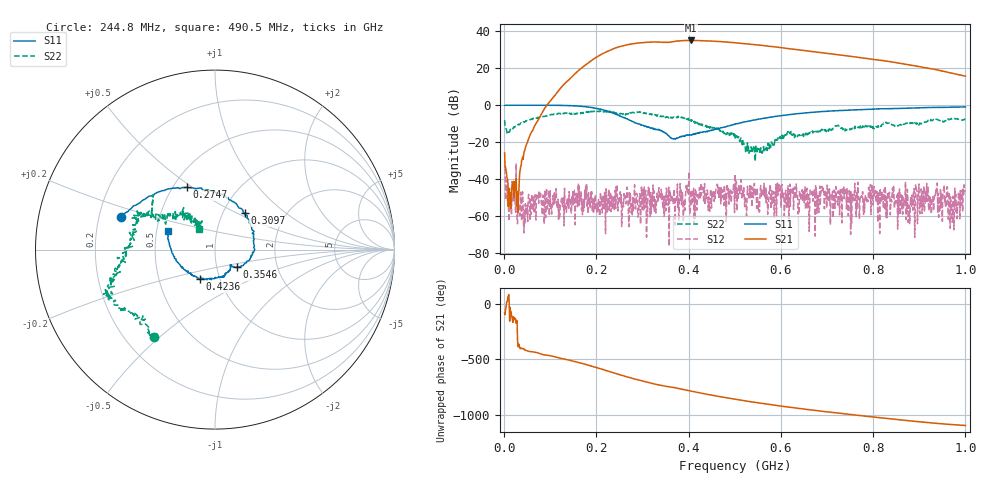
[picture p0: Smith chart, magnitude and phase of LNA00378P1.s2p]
! Created with skrf 1.9.0 (http://scikit-rf.org).
# Hz S RI R 50.0
!freq ReS11 ImS11 ReS21 ImS21 ReS12 ImS12 ReS22 ImS22
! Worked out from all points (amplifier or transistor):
!   1001 points, 1 MHz to 1 GHz, reference 50 ohm
!   highest |S21| = 35.0 dB at 404.6 MHz (marker M1)
!   |S21| within 3 dB of that: 255.9 MHz to 569.3 MHz (313.4 MHz wide, 76 % of centre) (the widest 1 of 2)
!   unconditionally stable (mu >= 1): 297.9 MHz to 400.2 MHz; 400.9 MHz to 500.5 MHz; 500.5 MHz to end of sweep (the widest 3 of 33)
!   at 166.8 MHz: K = 1.11, MAG = 31.2 dB, |S12| = -46.5 dB
!   at 500.5 MHz: K = 0.98, MSG = 35.5 dB, |S12| = -37.3 dB
!   at 1 GHz: K = 2.63, MAG = 24.2 dB, |S12| = -46.8 dB
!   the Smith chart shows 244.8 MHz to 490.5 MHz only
!   S11 on the Smith chart (normalised r, x): 244.8 MHz: 0.29, +0.15; 274.7 MHz: 0.59, +0.48; 309.7 MHz: 1.26, +0.55; 354.6 MHz: 1.25, -0.25; 423.6 MHz: 0.81, -0.27; 490.5 MHz: 0.57, +0.13
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1000000  0.9823 0.0135  0.00718 -0.0511  0.00405 -0.0178  0.296 0.2574
1.08892e8  0.5125 -0.8536  -0.8557 -1.561  0.00377 0.00198  0.4257 -0.3679
1.67833e8  -0.2491 -0.8973  -10.17 -0.4136  4.64e-05 0.00146  0.0443 -0.6223
2.09791e8  -0.6801 -0.3652  -15.55 17.44  0.00252 0.00185  -0.208 -0.6493
2.44756e8  -0.5265 0.1792  2.161 36.42  -0.00636 -0.00321  -0.3412 -0.488
2.74726e8  -0.1576 0.3469  28.86 34.4  -0.00131 0.00077  -0.515 -0.336
3.09691e8  0.165 0.2032  49.29 10.08  -0.00136 0.00265  -0.5854 -0.1589
3.34666e8  0.2214 0.000695  49.6 -11.48  -0.00235 0.00427  -0.5117 -0.0387
3.54646e8  0.1211 -0.0971  43.95 -23.42  -0.000201 0.00209  -0.4658 0.0569
3.76624e8  0.0867 -0.0968  39.37 -37.52  -0.00123 0.00123  -0.4356 0.1671
4.04596e8  0.0127 -0.1578  20.18 -52.5  -0.00139 0.0028  -0.3317 0.1957
4.23577e8  -0.0827 -0.1636  4.982 -55.42  0.00163 0.0057  -0.2176 0.1678
4.55545e8  -0.2061 -0.0732  -18.07 -50.25  0.00172 0.00182  -0.145 0.1875
4.9051e8  -0.2641 0.1012  -35.1 -35.25  0.00432 -0.00261  -0.0871 0.1157
5.005e8  -0.2663 0.1616  -38.58 -30.15  0.0137 -0.000698  -0.0805 0.0925
5.4046e8  -0.1804 0.3519  -42.65 -8.933  0.00242 0.00196  -0.0677 0.0209
5.88412e8  0.0287 0.4959  -35.69 11.28  0.00362 -0.0018  -0.0852 -0.0664
6.67333e8  0.4075 0.4938  -14.19 24.25  4.94e-05 -0.00389  -0.1803 -0.0546
7.53247e8  0.6872 0.2733  3.81 20.35  -0.000633 0.000136  -0.2208 -0.0236
8.34166e8  0.8066 0.00289  11.12 10.34  -0.000213 0.00337  -0.3235 -0.0489
9.18082e8  0.8127 -0.2913  9.926 1.219  -0.00356 -0.00105  -0.3607 0.0665
1e9  0.7178 -0.5371  5.774 -1.946  -0.00444 0.00103  -0.3618 0.2027
